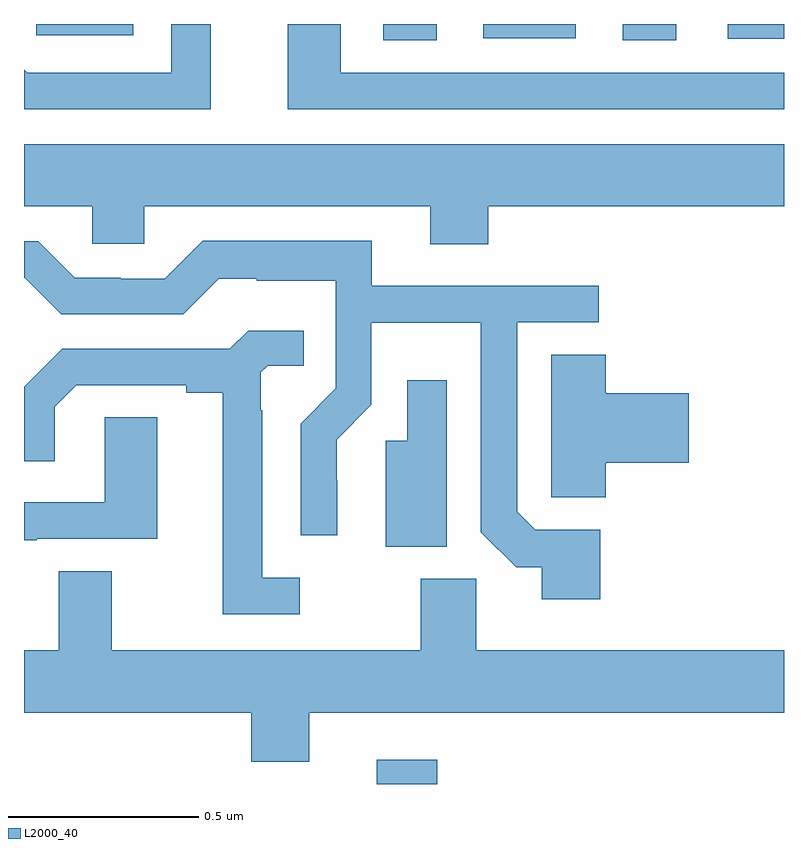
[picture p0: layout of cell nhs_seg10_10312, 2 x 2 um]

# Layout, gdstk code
import gdstk
lib = gdstk.Library(unit=1e-6, precision=1e-09)
def R(c, l, rs):  # rectangles x0, y0, x1, y1
    for r in rs: c.add(gdstk.rectangle(r[:2], r[2:], *l))
def P(c, l, *ps):  # polygons
    for p in ps: c.add(gdstk.Polygon(p, *l))
L2000_40 = (2000, 40)

nhs_seg10_10312 = lib.new_cell('nhs_seg10_10312')
R(nhs_seg10_10312, L2000_40, [(241.928,1261.5,242.087,1261.564), (241.946,1263.457,242.086,1263.5), (242.576,1263.457,242.716,1263.5), (242.852,1263.461,243,1263.5), (242.208,1263.462,242.452,1263.5), (241.032,1263.471,241.288,1263.5)])
P(nhs_seg10_10312, L2000_40, [(243,1263.372),(241.834,1263.372),(241.834,1263.5),(241.694,1263.5),(241.694,1263.276),(243,1263.276)],
  [(241.492,1263.5),(241.388,1263.5),(241.388,1263.372),(241.008,1263.372),(241,1263.38),(241,1263.276),(241.492,1263.276)],
  [(242.222,1263.02),(243,1263.02),(243,1263.184),(241,1263.184),(241,1263.02),(241.179,1263.02),(241.179,1262.922),(241.317,1262.922),(241.317,1263.02),(242.069,1263.02),(242.069,1262.921),(242.222,1262.921)],
  [(242.516,1262.169),(242.346,1262.169),(242.298,1262.217),(242.298,1262.715),(242.512,1262.715),(242.512,1262.811),(241.915,1262.811),(241.915,1262.929),(241.471,1262.929),(241.371,1262.829),(241.254,1262.829),(241.254,1262.832),(241.134,1262.832),(241.038,1262.928),(241,1262.928),(241,1262.832),(241.002,1262.832),(241.098,1262.736),(241.419,1262.736),(241.512,1262.829),(241.612,1262.829),(241.612,1262.825),(241.821,1262.825),(241.821,1262.541),(241.728,1262.448),(241.728,1262.154),(241.824,1262.154),(241.824,1262.3),(241.823,1262.3),(241.823,1262.406),(241.914,1262.498),(241.914,1262.714),(242.202,1262.714),(242.202,1262.163),(242.295,1262.071),(242.363,1262.071),(242.363,1261.986),(242.516,1261.986)],
  [(241.726,1262.043),(241.627,1262.043),(241.627,1262.483),(241.623,1262.483),(241.623,1262.583),(241.641,1262.601),(241.736,1262.601),(241.736,1262.693),(241.59,1262.693),(241.542,1262.646),(241.1,1262.646),(241,1262.546),(241,1262.349),(241.081,1262.349),(241.081,1262.493),(241.138,1262.55),(241.427,1262.55),(241.427,1262.53),(241.523,1262.53),(241.523,1261.947),(241.726,1261.947)],
  [(242.531,1262.345),(242.749,1262.345),(242.749,1262.528),(242.531,1262.528),(242.531,1262.63),(242.387,1262.63),(242.387,1262.362),(242.388,1262.362),(242.388,1262.254),(242.531,1262.254)],
  [(242.113,1262.563),(242.009,1262.563),(242.009,1262.403),(241.952,1262.403),(241.952,1262.125),(242.113,1262.125)],
  [(241.033,1262.145),(241.351,1262.145),(241.351,1262.465),(241.212,1262.465),(241.212,1262.241),(241,1262.241),(241,1262.141),(241.033,1262.141)],
  [(241.75,1261.688),(243,1261.688),(243,1261.852),(242.19,1261.852),(242.19,1262.04),(242.044,1262.04),(242.044,1261.852),(241.231,1261.852),(241.231,1262.06),(241.091,1262.06),(241.091,1261.852),(241,1261.852),(241,1261.688),(241.598,1261.688),(241.598,1261.558),(241.75,1261.558)])

lib.write_gds('nhs_seg10_10312.gds')
